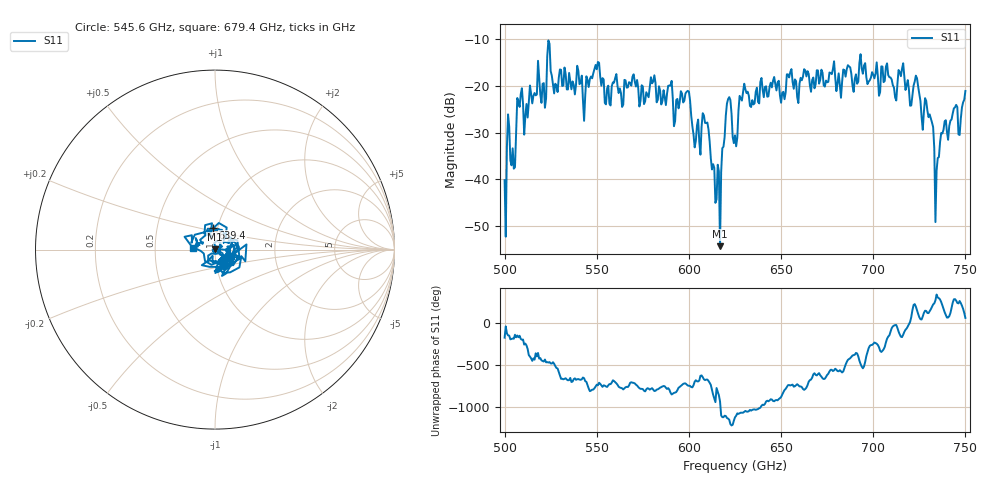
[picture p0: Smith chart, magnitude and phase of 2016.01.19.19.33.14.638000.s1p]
!Created with skrf (http://scikit-rf.org).
# GHz S RI R 50.0
!freq ReS11 ImS11
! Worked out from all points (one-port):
!   401 points, 500 GHz to 750 GHz, reference 50 ohm
!   lowest |S11| = -54.3 dB at 616.9 GHz (marker M1), VSWR 1.00, Z = 49.8 + j0.102 ohm
!   |S11| at or under -10 dB: start of sweep to end of sweep
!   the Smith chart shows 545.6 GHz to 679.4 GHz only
!   S11 on the Smith chart (normalised r, x): 545.6 GHz: 1.09, -0.18; 639.4 GHz: 0.95, +0.23; 679.4 GHz: 0.78, +0.01
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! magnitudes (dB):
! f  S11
! 500 GHz  -40.2
! 502.5 GHz  -28.7
! 505 GHz  -37.7
! 508.1 GHz  -24.5
! 521.2 GHz  -19.4
! 524.4 GHz  -11.0
! 527.5 GHz  -19.5
! 531.2 GHz  -20.0
! 545.6 GHz  -20.2
! 562.5 GHz  -20.5
! 580.6 GHz  -19.0
! 593.8 GHz  -22.8
! 603.1 GHz  -33.1
! 608.8 GHz  -27.9
! 615.6 GHz  -36.9
! 616.9 GHz  -54.3
! 621.2 GHz  -22.8
! 625 GHz  -30.6
! 628.8 GHz  -23.1
! 639.4 GHz  -18.3
! 656.2 GHz  -19.1
! 679.4 GHz  -18.1
! 687.5 GHz  -16.0
! 718.8 GHz  -18.7
! 729.4 GHz  -25.3
! 734.4 GHz  -38.1
! 738.1 GHz  -29.4
! 750 GHz  -21.1
